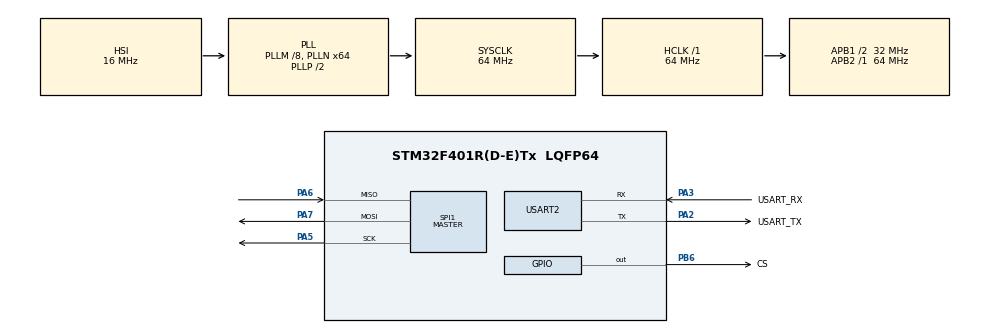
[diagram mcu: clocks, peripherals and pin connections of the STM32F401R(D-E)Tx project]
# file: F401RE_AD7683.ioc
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Mcu.Family=STM32F4
Mcu.Name=STM32F401R(D-E)Tx
Mcu.Package=LQFP64
NVIC.PriorityGroup=NVIC_PRIORITYGROUP_0
NVIC.TIM1_UP_TIM10_IRQn=true\:0\:0\:false\:false\:true\:true\:true
PA13.Mode=Serial_Wire
PA13.Signal=SYS_JTMS-SWDIO
PA14.Mode=Serial_Wire
PA14.Signal=SYS_JTCK-SWCLK
PA2.GPIO_Label=USART_TX
PA2.GPIO_Mode=GPIO_MODE_AF_PP
PA2.GPIO_PuPd=GPIO_NOPULL
PA2.GPIO_Speed=GPIO_SPEED_FREQ_LOW
PA2.Mode=Asynchronous
PA2.Signal=USART2_TX
PA3.GPIO_Label=USART_RX
PA3.GPIO_Mode=GPIO_MODE_AF_PP
PA3.GPIO_PuPd=GPIO_NOPULL
PA3.GPIO_Speed=GPIO_SPEED_FREQ_LOW
PA3.Mode=Asynchronous
PA3.Signal=USART2_RX
PA5.Mode=Full_Duplex_Master
PA5.Signal=SPI1_SCK
PA6.Mode=Full_Duplex_Master
PA6.Signal=SPI1_MISO
PA7.Mode=Full_Duplex_Master
PA7.Signal=SPI1_MOSI
PB6.GPIO_Label=CS
PB6.GPIO_Speed=GPIO_SPEED_FREQ_VERY_HIGH
PB6.PinState=GPIO_PIN_SET
PB6.Signal=GPIO_Output
ProjectManager.HeapSize=0x200
ProjectManager.StackSize=0x400
ProjectManager.TargetToolchain=STM32CubeIDE
RCC.48MHZClocksFreq_Value=18285714.285714287
RCC.AHBFreq_Value=64000000
RCC.APB1CLKDivider=RCC_HCLK_DIV2
RCC.APB1Freq_Value=32000000
RCC.APB1TimFreq_Value=64000000
RCC.APB2Freq_Value=64000000
RCC.APB2TimFreq_Value=64000000
RCC.CortexFreq_Value=64000000
RCC.HCLKFreq_Value=64000000
RCC.HSE_VALUE=8000000
RCC.HSI_VALUE=16000000
RCC.LSE_VALUE=32768
RCC.PLLM=8
RCC.PLLN=64
RCC.PLLQ=7
RCC.SYSCLKFreq_VALUE=64000000
RCC.SYSCLKSource=RCC_SYSCLKSOURCE_PLLCLK
RCC.VCOOutputFreq_Value=128000000
SPI1.BaudRatePrescaler=SPI_BAUDRATEPRESCALER_256
SPI1.CLKPhase=SPI_PHASE_2EDGE
SPI1.CLKPolarity=SPI_POLARITY_HIGH
SPI1.Direction=SPI_DIRECTION_2LINES
SPI1.Mode=SPI_MODE_MASTER
SPI1.VirtualType=VM_MASTER
TIM1.Period=125
TIM1.Prescaler=8
USART2.VirtualMode=VM_ASYNC
VP_TIM1_VS_ClockSourceINT.Mode=Internal
board=NUCLEO-F401RE

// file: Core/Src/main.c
/* USER CODE BEGIN Header */
/**
 ******************************************************************************
 * @file           : main.c
 * @brief          : Main program body
 ******************************************************************************
 * @attention
 *
 * <h2><center>&copy; Copyright (c) 2023 STMicroelectronics.
 * All rights reserved.</center></h2>
 *
 * This software component is licensed by ST under BSD 3-Clause license,
 * the "License"; You may not use this file except in compliance with the
 * License. You may obtain a copy of the License at:
 *                        opensource.org/licenses/BSD-3-Clause
 *
 ******************************************************************************
 */
/* USER CODE END Header */
#include "main.h"

/* USER CODE BEGIN Includes */
#include "math.h"
#include "stdio.h"
#include "string.h"

#include "AD7683.h"
/* USER CODE END Includes */

/* USER CODE BEGIN PD */
#define DATA_SIZE 32000   // may be setted more or less due to MCU RAM
/* USER CODE END PD */

SPI_HandleTypeDef hspi1;
TIM_HandleTypeDef htim1;
UART_HandleTypeDef huart2;

void SystemClock_Config(void);
static void MX_GPIO_Init(void);
static void MX_USART2_UART_Init(void);
static void MX_SPI1_Init(void);
static void MX_TIM1_Init(void);

/* USER CODE BEGIN 0 */
double calculate_RMS(uint16_t* data)
{
  double data_average = 0;
  double sum_squares = 0;

  for(uint32_t i = 0; i < DATA_SIZE; i++)
  {
    data_average += data[i];
  }
  data_average /= DATA_SIZE;

  for(uint32_t i = 0; i < DATA_SIZE; i++)
  {
    sum_squares += (data[i] - data_average) * (data[i] - data_average);
  }

  return sqrt(sum_squares / DATA_SIZE);
}

// timer frequency - 64 kHz
void HAL_TIM_PeriodElapsedCallback(TIM_HandleTypeDef *htim)
{
  if(htim->Instance == TIM1) //check if the interrupt comes from TIM1
  {
    static uint16_t adcData[DATA_SIZE] = { 0 };
    static uint16_t counter = 0;

    char string_value[100];

    uint16_t adcValue = AD7683_get_value_SPI(&hspi1);
    adcData[counter++] = adcValue;

    if(counter >= DATA_SIZE)
    {
      counter = 0;
      double RMS_value = calculate_RMS(adcData);

      sprintf(string_value, "%f\n\r", RMS_value);
      HAL_UART_Transmit(&huart2, (uint8_t*)string_value, strlen(string_value), 1000);
    }
    else
    {
      sprintf(string_value, "%d\n\r", adcValue);
      HAL_UART_Transmit(&huart2, (uint8_t*)string_value, strlen(string_value), 1000);
    }

  }
}
/* USER CODE END 0 */

int main(void)
{

  /* MCU Configuration--------------------------------------------------------*/

  /* Reset of all peripherals, Initializes the Flash interface and the Systick. */
  HAL_Init();

  /* Configure the system clock */
  SystemClock_Config();

  /* Initialize all configured peripherals */
  MX_GPIO_Init();
  MX_USART2_UART_Init();
  MX_SPI1_Init();
  MX_TIM1_Init();
  /* USER CODE BEGIN 2 */
  HAL_TIM_Base_Start_IT(&htim1);
  /* USER CODE END 2 */

  /* Infinite loop */
  while(1)
  {

  }
}

void SystemClock_Config(void)
{
  RCC_OscInitTypeDef RCC_OscInitStruct = {0};
  RCC_ClkInitTypeDef RCC_ClkInitStruct = {0};

  /** Configure the main internal regulator output voltage
  */
  __HAL_RCC_PWR_CLK_ENABLE();
  __HAL_PWR_VOLTAGESCALING_CONFIG(PWR_REGULATOR_VOLTAGE_SCALE2);
  /** Initializes the RCC Oscillators according to the specified parameters
  * in the RCC_OscInitTypeDef structure.
  */
  RCC_OscInitStruct.OscillatorType = RCC_OSCILLATORTYPE_HSI;
  RCC_OscInitStruct.HSIState = RCC_HSI_ON;
  RCC_OscInitStruct.HSICalibrationValue = RCC_HSICALIBRATION_DEFAULT;
  RCC_OscInitStruct.PLL.PLLState = RCC_PLL_ON;
  RCC_OscInitStruct.PLL.PLLSource = RCC_PLLSOURCE_HSI;
  RCC_OscInitStruct.PLL.PLLM = 8;
  RCC_OscInitStruct.PLL.PLLN = 64;
  RCC_OscInitStruct.PLL.PLLP = RCC_PLLP_DIV2;
  RCC_OscInitStruct.PLL.PLLQ = 7;
  if (HAL_RCC_OscConfig(&RCC_OscInitStruct) != HAL_OK)
  {
    Error_Handler();
  }
  /** Initializes the CPU, AHB and APB buses clocks
  */
  RCC_ClkInitStruct.ClockType = RCC_CLOCKTYPE_HCLK|RCC_CLOCKTYPE_SYSCLK
                              |RCC_CLOCKTYPE_PCLK1|RCC_CLOCKTYPE_PCLK2;
  RCC_ClkInitStruct.SYSCLKSource = RCC_SYSCLKSOURCE_PLLCLK;
  RCC_ClkInitStruct.AHBCLKDivider = RCC_SYSCLK_DIV1;
  RCC_ClkInitStruct.APB1CLKDivider = RCC_HCLK_DIV2;
  RCC_ClkInitStruct.APB2CLKDivider = RCC_HCLK_DIV1;

  if (HAL_RCC_ClockConfig(&RCC_ClkInitStruct, FLASH_LATENCY_2) != HAL_OK)
  {
    Error_Handler();
  }
}

static void MX_SPI1_Init(void)
{

  /* SPI1 parameter configuration*/
  hspi1.Instance = SPI1;
  hspi1.Init.Mode = SPI_MODE_MASTER;
  hspi1.Init.Direction = SPI_DIRECTION_2LINES;
  hspi1.Init.DataSize = SPI_DATASIZE_8BIT;
  hspi1.Init.CLKPolarity = SPI_POLARITY_HIGH;
  hspi1.Init.CLKPhase = SPI_PHASE_2EDGE;
  hspi1.Init.NSS = SPI_NSS_SOFT;
  hspi1.Init.BaudRatePrescaler = SPI_BAUDRATEPRESCALER_256;
  hspi1.Init.FirstBit = SPI_FIRSTBIT_MSB;
  hspi1.Init.TIMode = SPI_TIMODE_DISABLE;
  hspi1.Init.CRCCalculation = SPI_CRCCALCULATION_DISABLE;
  hspi1.Init.CRCPolynomial = 10;
  if (HAL_SPI_Init(&hspi1) != HAL_OK)
  {
    Error_Handler();
  }

}

static void MX_TIM1_Init(void)
{

  TIM_ClockConfigTypeDef sClockSourceConfig = {0};
  TIM_MasterConfigTypeDef sMasterConfig = {0};

  htim1.Instance = TIM1;
  htim1.Init.Prescaler = 8;
  htim1.Init.CounterMode = TIM_COUNTERMODE_UP;
  htim1.Init.Period = 125;
  htim1.Init.ClockDivision = TIM_CLOCKDIVISION_DIV1;
  htim1.Init.RepetitionCounter = 0;
  htim1.Init.AutoReloadPreload = TIM_AUTORELOAD_PRELOAD_DISABLE;
  if (HAL_TIM_Base_Init(&htim1) != HAL_OK)
  {
    Error_Handler();
  }
  sClockSourceConfig.ClockSource = TIM_CLOCKSOURCE_INTERNAL;
  if (HAL_TIM_ConfigClockSource(&htim1, &sClockSourceConfig) != HAL_OK)
  {
    Error_Handler();
  }
  sMasterConfig.MasterOutputTrigger = TIM_TRGO_RESET;
  sMasterConfig.MasterSlaveMode = TIM_MASTERSLAVEMODE_DISABLE;
  if (HAL_TIMEx_MasterConfigSynchronization(&htim1, &sMasterConfig) != HAL_OK)
  {
    Error_Handler();
  }

}

static void MX_USART2_UART_Init(void)
{

  huart2.Instance = USART2;
  huart2.Init.BaudRate = 115200;
  huart2.Init.WordLength = UART_WORDLENGTH_8B;
  huart2.Init.StopBits = UART_STOPBITS_1;
  huart2.Init.Parity = UART_PARITY_NONE;
  huart2.Init.Mode = UART_MODE_TX_RX;
  huart2.Init.HwFlowCtl = UART_HWCONTROL_NONE;
  huart2.Init.OverSampling = UART_OVERSAMPLING_16;
  if (HAL_UART_Init(&huart2) != HAL_OK)
  {
    Error_Handler();
  }

}

static void MX_GPIO_Init(void)
{
  GPIO_InitTypeDef GPIO_InitStruct = {0};

  /* GPIO Ports Clock Enable */
  __HAL_RCC_GPIOA_CLK_ENABLE();
  __HAL_RCC_GPIOB_CLK_ENABLE();

  /*Configure GPIO pin Output Level */
  HAL_GPIO_WritePin(CS_GPIO_Port, CS_Pin, GPIO_PIN_SET);

  /*Configure GPIO pin : CS_Pin */
  GPIO_InitStruct.Pin = CS_Pin;
  GPIO_InitStruct.Mode = GPIO_MODE_OUTPUT_PP;
  GPIO_InitStruct.Pull = GPIO_NOPULL;
  GPIO_InitStruct.Speed = GPIO_SPEED_FREQ_VERY_HIGH;
  HAL_GPIO_Init(CS_GPIO_Port, &GPIO_InitStruct);

}

void Error_Handler(void)
{
  __disable_irq();
  while(1)
  {
  }
}

/************************ (C) COPYRIGHT STMicroelectronics *****END OF FILE****/
